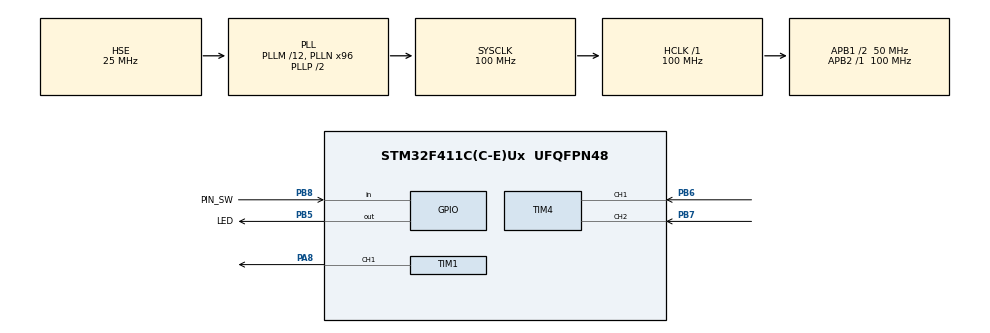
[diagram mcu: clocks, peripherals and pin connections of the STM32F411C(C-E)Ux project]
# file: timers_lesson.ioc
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Mcu.Family=STM32F4
Mcu.Name=STM32F411C(C-E)Ux
Mcu.Package=UFQFPN48
NVIC.PriorityGroup=NVIC_PRIORITYGROUP_4
NVIC.TIM2_IRQn=true\:0\:0\:false\:false\:true\:true\:true\:true
NVIC.TIM3_IRQn=true\:0\:0\:false\:false\:true\:true\:true\:true
NVIC.TIM4_IRQn=true\:0\:0\:false\:false\:true\:true\:true\:true
PA13.Mode=Trace_Asynchronous_SW
PA13.Signal=SYS_JTMS-SWDIO
PA14.Mode=Trace_Asynchronous_SW
PA14.Signal=SYS_JTCK-SWCLK
PA8.Signal=S_TIM1_CH1
PB3.Mode=Trace_Asynchronous_SW
PB3.Signal=SYS_JTDO-SWO
PB5.GPIO_Label=LED
PB5.Signal=GPIO_Output
PB6.Signal=S_TIM4_CH1
PB7.Signal=S_TIM4_CH2
PB8.GPIO_Label=PIN_SW
PB8.GPIO_PuPd=GPIO_PULLUP
PB8.Signal=GPIO_Input
PH0\ -\ OSC_IN.Mode=HSE-External-Oscillator
PH0\ -\ OSC_IN.Signal=RCC_OSC_IN
PH1\ -\ OSC_OUT.Mode=HSE-External-Oscillator
PH1\ -\ OSC_OUT.Signal=RCC_OSC_OUT
ProjectManager.HeapSize=0x200
ProjectManager.StackSize=0x400
ProjectManager.TargetToolchain=STM32CubeIDE
RCC.48MHZClocksFreq_Value=50000000
RCC.AHBFreq_Value=100000000
RCC.APB1CLKDivider=RCC_HCLK_DIV2
RCC.APB1Freq_Value=50000000
RCC.APB1TimFreq_Value=100000000
RCC.APB2Freq_Value=100000000
RCC.APB2TimFreq_Value=100000000
RCC.CortexFreq_Value=100000000
RCC.HCLKFreq_Value=100000000
RCC.HSE_VALUE=25000000
RCC.HSI_VALUE=16000000
RCC.LSE_VALUE=32768
RCC.PLLM=12
RCC.PLLN=96
RCC.PLLSourceVirtual=RCC_PLLSOURCE_HSE
RCC.SYSCLKFreq_VALUE=100000000
RCC.SYSCLKSource=RCC_SYSCLKSOURCE_PLLCLK
RCC.VCOOutputFreq_Value=200000000
SH.S_TIM1_CH1.0=TIM1_CH1,PWM Generation1 CH1
SH.S_TIM4_CH1.0=TIM4_CH1,Encoder_Interface
SH.S_TIM4_CH2.0=TIM4_CH2,Encoder_Interface
TIM1.AutoReloadPreload=TIM_AUTORELOAD_PRELOAD_ENABLE
TIM1.Channel-PWM\ Generation1\ CH1=TIM_CHANNEL_1
TIM1.Period=9999
TIM1.Prescaler=9999
TIM1.Pulse-PWM\ Generation1\ CH1=5000
TIM2.CounterMode=TIM_COUNTERMODE_DOWN
TIM2.Period=99999
TIM2.Prescaler=9999
TIM3.Period=14999
TIM3.Prescaler=9999
TIM4.EncoderMode=TIM_ENCODERMODE_TI12
TIM4.IC1Filter=10
TIM4.IC2Filter=10
VP_TIM1_VS_ClockSourceINT.Mode=Internal
VP_TIM2_VS_ClockSourceINT.Mode=Internal
VP_TIM3_VS_ClockSourceINT.Mode=Internal
board=custom

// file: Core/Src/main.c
/* USER CODE BEGIN Header */
/**
  ******************************************************************************
  * @file           : main.c
  * @brief          : Main program body
  ******************************************************************************
  * @attention
  *
  * Copyright (c) 2026 STMicroelectronics.
  * All rights reserved.
  *
  * This software is licensed under terms that can be found in the LICENSE file
  * in the root directory of this software component.
  * If no LICENSE file comes with this software, it is provided AS-IS.
  *
  ******************************************************************************
  */
/* USER CODE END Header */
#include "main.h"

/* USER CODE BEGIN Includes */
#include <stdio.h>
#include <stdbool.h>
#include "SEGGER_RTT.h"

/* USER CODE END Includes */

TIM_HandleTypeDef htim1;
TIM_HandleTypeDef htim2;
TIM_HandleTypeDef htim3;
TIM_HandleTypeDef htim4;

void SystemClock_Config(void);
static void MX_GPIO_Init(void);
static void MX_TIM2_Init(void);
static void MX_TIM3_Init(void);
static void MX_TIM1_Init(void);
static void MX_TIM4_Init(void);

/* USER CODE BEGIN 0 */
int _write(int file, char *ptr, int len)
{
  SEGGER_RTT_Write(0, ptr, len);
  return len;
}

#define min_freq 0
#define max_freq 19

float getFreq(int16_t cnt) {
	if (cnt < min_freq)
		cnt = min_freq;
	if (cnt > max_freq)
		cnt = max_freq;

	return min_freq + cnt;
}

volatile int16_t counter = 0;
int16_t lastCounter = 0;
/* USER CODE END 0 */

int main(void)
{

  /* MCU Configuration--------------------------------------------------------*/

  /* Reset of all peripherals, Initializes the Flash interface and the Systick. */
  HAL_Init();

  /* Configure the system clock */
  SystemClock_Config();

  /* Initialize all configured peripherals */
  MX_GPIO_Init();
  MX_TIM2_Init();
  MX_TIM3_Init();
  MX_TIM1_Init();
  MX_TIM4_Init();
  /* USER CODE BEGIN 2 */
  SEGGER_RTT_Init();

  __HAL_TIM_SET_COUNTER(&htim2, __HAL_TIM_GET_AUTORELOAD(&htim2));
  __HAL_TIM_CLEAR_FLAG(&htim2, TIM_FLAG_UPDATE);
  HAL_TIM_Base_Start_IT(&htim2);

  HAL_TIM_PWM_Start(&htim1, TIM_CHANNEL_1);
  HAL_TIM_Encoder_Start_IT(&htim4, TIM_CHANNEL_ALL);

  /* USER CODE END 2 */

  /* Infinite loop */
  /* USER CODE BEGIN WHILE */

  while (1)
  {
	  if (lastCounter != counter) {
		  float freq = getFreq(counter);
		  printf("Counter: %d, FREQ: %f\n", counter, freq);
		  lastCounter = counter;

		  if (freq == 0) {
			  __HAL_TIM_SET_COMPARE(&htim1, TIM_CHANNEL_1, 0);
		  } else {
			  uint32_t arr = 10000 / freq - 1;
			  uint32_t ccr = (arr + 1) / 2;
			  __HAL_TIM_SET_AUTORELOAD(&htim1, arr);
			  __HAL_TIM_SET_COMPARE(&htim1, TIM_CHANNEL_1, ccr);
		  }
	  }
    /* USER CODE END WHILE */

  }
}

void SystemClock_Config(void)
{
  RCC_OscInitTypeDef RCC_OscInitStruct = {0};
  RCC_ClkInitTypeDef RCC_ClkInitStruct = {0};

  /** Configure the main internal regulator output voltage
  */
  __HAL_RCC_PWR_CLK_ENABLE();
  __HAL_PWR_VOLTAGESCALING_CONFIG(PWR_REGULATOR_VOLTAGE_SCALE1);

  /** Initializes the RCC Oscillators according to the specified parameters
  * in the RCC_OscInitTypeDef structure.
  */
  RCC_OscInitStruct.OscillatorType = RCC_OSCILLATORTYPE_HSE;
  RCC_OscInitStruct.HSEState = RCC_HSE_ON;
  RCC_OscInitStruct.PLL.PLLState = RCC_PLL_ON;
  RCC_OscInitStruct.PLL.PLLSource = RCC_PLLSOURCE_HSE;
  RCC_OscInitStruct.PLL.PLLM = 12;
  RCC_OscInitStruct.PLL.PLLN = 96;
  RCC_OscInitStruct.PLL.PLLP = RCC_PLLP_DIV2;
  RCC_OscInitStruct.PLL.PLLQ = 4;
  if (HAL_RCC_OscConfig(&RCC_OscInitStruct) != HAL_OK)
  {
    Error_Handler();
  }

  /** Initializes the CPU, AHB and APB buses clocks
  */
  RCC_ClkInitStruct.ClockType = RCC_CLOCKTYPE_HCLK|RCC_CLOCKTYPE_SYSCLK
                              |RCC_CLOCKTYPE_PCLK1|RCC_CLOCKTYPE_PCLK2;
  RCC_ClkInitStruct.SYSCLKSource = RCC_SYSCLKSOURCE_PLLCLK;
  RCC_ClkInitStruct.AHBCLKDivider = RCC_SYSCLK_DIV1;
  RCC_ClkInitStruct.APB1CLKDivider = RCC_HCLK_DIV2;
  RCC_ClkInitStruct.APB2CLKDivider = RCC_HCLK_DIV1;

  if (HAL_RCC_ClockConfig(&RCC_ClkInitStruct, FLASH_LATENCY_3) != HAL_OK)
  {
    Error_Handler();
  }
}

static void MX_TIM1_Init(void)
{

  TIM_ClockConfigTypeDef sClockSourceConfig = {0};
  TIM_MasterConfigTypeDef sMasterConfig = {0};
  TIM_OC_InitTypeDef sConfigOC = {0};
  TIM_BreakDeadTimeConfigTypeDef sBreakDeadTimeConfig = {0};

  htim1.Instance = TIM1;
  htim1.Init.Prescaler = 9999;
  htim1.Init.CounterMode = TIM_COUNTERMODE_UP;
  htim1.Init.Period = 9999;
  htim1.Init.ClockDivision = TIM_CLOCKDIVISION_DIV1;
  htim1.Init.RepetitionCounter = 0;
  htim1.Init.AutoReloadPreload = TIM_AUTORELOAD_PRELOAD_ENABLE;
  if (HAL_TIM_Base_Init(&htim1) != HAL_OK)
  {
    Error_Handler();
  }
  sClockSourceConfig.ClockSource = TIM_CLOCKSOURCE_INTERNAL;
  if (HAL_TIM_ConfigClockSource(&htim1, &sClockSourceConfig) != HAL_OK)
  {
    Error_Handler();
  }
  if (HAL_TIM_PWM_Init(&htim1) != HAL_OK)
  {
    Error_Handler();
  }
  sMasterConfig.MasterOutputTrigger = TIM_TRGO_RESET;
  sMasterConfig.MasterSlaveMode = TIM_MASTERSLAVEMODE_DISABLE;
  if (HAL_TIMEx_MasterConfigSynchronization(&htim1, &sMasterConfig) != HAL_OK)
  {
    Error_Handler();
  }
  sConfigOC.OCMode = TIM_OCMODE_PWM1;
  sConfigOC.Pulse = 5000;
  sConfigOC.OCPolarity = TIM_OCPOLARITY_HIGH;
  sConfigOC.OCNPolarity = TIM_OCNPOLARITY_HIGH;
  sConfigOC.OCFastMode = TIM_OCFAST_DISABLE;
  sConfigOC.OCIdleState = TIM_OCIDLESTATE_RESET;
  sConfigOC.OCNIdleState = TIM_OCNIDLESTATE_RESET;
  if (HAL_TIM_PWM_ConfigChannel(&htim1, &sConfigOC, TIM_CHANNEL_1) != HAL_OK)
  {
    Error_Handler();
  }
  sBreakDeadTimeConfig.OffStateRunMode = TIM_OSSR_DISABLE;
  sBreakDeadTimeConfig.OffStateIDLEMode = TIM_OSSI_DISABLE;
  sBreakDeadTimeConfig.LockLevel = TIM_LOCKLEVEL_OFF;
  sBreakDeadTimeConfig.DeadTime = 0;
  sBreakDeadTimeConfig.BreakState = TIM_BREAK_DISABLE;
  sBreakDeadTimeConfig.BreakPolarity = TIM_BREAKPOLARITY_HIGH;
  sBreakDeadTimeConfig.AutomaticOutput = TIM_AUTOMATICOUTPUT_DISABLE;
  if (HAL_TIMEx_ConfigBreakDeadTime(&htim1, &sBreakDeadTimeConfig) != HAL_OK)
  {
    Error_Handler();
  }
  HAL_TIM_MspPostInit(&htim1);

}

static void MX_TIM2_Init(void)
{

  TIM_ClockConfigTypeDef sClockSourceConfig = {0};
  TIM_MasterConfigTypeDef sMasterConfig = {0};

  htim2.Instance = TIM2;
  htim2.Init.Prescaler = 9999;
  htim2.Init.CounterMode = TIM_COUNTERMODE_DOWN;
  htim2.Init.Period = 99999;
  htim2.Init.ClockDivision = TIM_CLOCKDIVISION_DIV1;
  htim2.Init.AutoReloadPreload = TIM_AUTORELOAD_PRELOAD_DISABLE;
  if (HAL_TIM_Base_Init(&htim2) != HAL_OK)
  {
    Error_Handler();
  }
  sClockSourceConfig.ClockSource = TIM_CLOCKSOURCE_INTERNAL;
  if (HAL_TIM_ConfigClockSource(&htim2, &sClockSourceConfig) != HAL_OK)
  {
    Error_Handler();
  }
  sMasterConfig.MasterOutputTrigger = TIM_TRGO_RESET;
  sMasterConfig.MasterSlaveMode = TIM_MASTERSLAVEMODE_DISABLE;
  if (HAL_TIMEx_MasterConfigSynchronization(&htim2, &sMasterConfig) != HAL_OK)
  {
    Error_Handler();
  }

}

static void MX_TIM3_Init(void)
{

  TIM_ClockConfigTypeDef sClockSourceConfig = {0};
  TIM_MasterConfigTypeDef sMasterConfig = {0};

  htim3.Instance = TIM3;
  htim3.Init.Prescaler = 9999;
  htim3.Init.CounterMode = TIM_COUNTERMODE_UP;
  htim3.Init.Period = 14999;
  htim3.Init.ClockDivision = TIM_CLOCKDIVISION_DIV1;
  htim3.Init.AutoReloadPreload = TIM_AUTORELOAD_PRELOAD_DISABLE;
  if (HAL_TIM_Base_Init(&htim3) != HAL_OK)
  {
    Error_Handler();
  }
  sClockSourceConfig.ClockSource = TIM_CLOCKSOURCE_INTERNAL;
  if (HAL_TIM_ConfigClockSource(&htim3, &sClockSourceConfig) != HAL_OK)
  {
    Error_Handler();
  }
  sMasterConfig.MasterOutputTrigger = TIM_TRGO_RESET;
  sMasterConfig.MasterSlaveMode = TIM_MASTERSLAVEMODE_DISABLE;
  if (HAL_TIMEx_MasterConfigSynchronization(&htim3, &sMasterConfig) != HAL_OK)
  {
    Error_Handler();
  }

}

static void MX_TIM4_Init(void)
{

  TIM_Encoder_InitTypeDef sConfig = {0};
  TIM_MasterConfigTypeDef sMasterConfig = {0};

  htim4.Instance = TIM4;
  htim4.Init.Prescaler = 0;
  htim4.Init.CounterMode = TIM_COUNTERMODE_UP;
  htim4.Init.Period = 65535;
  htim4.Init.ClockDivision = TIM_CLOCKDIVISION_DIV1;
  htim4.Init.AutoReloadPreload = TIM_AUTORELOAD_PRELOAD_DISABLE;
  sConfig.EncoderMode = TIM_ENCODERMODE_TI12;
  sConfig.IC1Polarity = TIM_ICPOLARITY_RISING;
  sConfig.IC1Selection = TIM_ICSELECTION_DIRECTTI;
  sConfig.IC1Prescaler = TIM_ICPSC_DIV1;
  sConfig.IC1Filter = 10;
  sConfig.IC2Polarity = TIM_ICPOLARITY_RISING;
  sConfig.IC2Selection = TIM_ICSELECTION_DIRECTTI;
  sConfig.IC2Prescaler = TIM_ICPSC_DIV1;
  sConfig.IC2Filter = 10;
  if (HAL_TIM_Encoder_Init(&htim4, &sConfig) != HAL_OK)
  {
    Error_Handler();
  }
  sMasterConfig.MasterOutputTrigger = TIM_TRGO_RESET;
  sMasterConfig.MasterSlaveMode = TIM_MASTERSLAVEMODE_DISABLE;
  if (HAL_TIMEx_MasterConfigSynchronization(&htim4, &sMasterConfig) != HAL_OK)
  {
    Error_Handler();
  }

}

static void MX_GPIO_Init(void)
{
  GPIO_InitTypeDef GPIO_InitStruct = {0};

  /* GPIO Ports Clock Enable */
  __HAL_RCC_GPIOH_CLK_ENABLE();
  __HAL_RCC_GPIOA_CLK_ENABLE();
  __HAL_RCC_GPIOB_CLK_ENABLE();

  /*Configure GPIO pin Output Level */
  HAL_GPIO_WritePin(LED_GPIO_Port, LED_Pin, GPIO_PIN_RESET);

  /*Configure GPIO pin : LED_Pin */
  GPIO_InitStruct.Pin = LED_Pin;
  GPIO_InitStruct.Mode = GPIO_MODE_OUTPUT_PP;
  GPIO_InitStruct.Pull = GPIO_NOPULL;
  GPIO_InitStruct.Speed = GPIO_SPEED_FREQ_LOW;
  HAL_GPIO_Init(LED_GPIO_Port, &GPIO_InitStruct);

  /*Configure GPIO pin : PIN_SW_Pin */
  GPIO_InitStruct.Pin = PIN_SW_Pin;
  GPIO_InitStruct.Mode = GPIO_MODE_INPUT;
  GPIO_InitStruct.Pull = GPIO_PULLUP;
  HAL_GPIO_Init(PIN_SW_GPIO_Port, &GPIO_InitStruct);

}

/* USER CODE BEGIN 4 */
void HAL_TIM_PeriodElapsedCallback(TIM_HandleTypeDef *htim) {
	if (htim->Instance == TIM2) {
		HAL_GPIO_WritePin(LED_GPIO_Port, LED_Pin, GPIO_PIN_SET);
		__HAL_TIM_SET_COUNTER(&htim3, 0);
		HAL_TIM_Base_Start_IT(&htim3);
	}
	if (htim->Instance == TIM3) {
		HAL_TIM_Base_Stop_IT(&htim3);
		HAL_GPIO_WritePin(LED_GPIO_Port, LED_Pin, GPIO_PIN_RESET);
	}
}

void HAL_TIM_IC_CaptureCallback(TIM_HandleTypeDef *htim) {
	counter = (int16_t)__HAL_TIM_GET_COUNTER(htim) / 4;
}
/* USER CODE END 4 */

void Error_Handler(void)
{
  __disable_irq();
  while (1)
  {
  }
}
